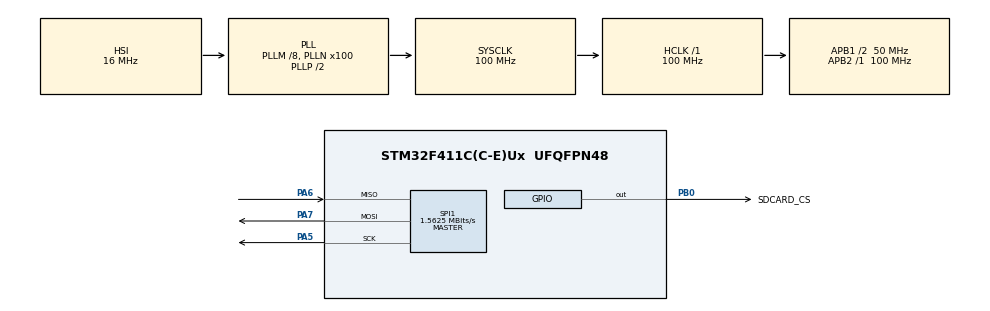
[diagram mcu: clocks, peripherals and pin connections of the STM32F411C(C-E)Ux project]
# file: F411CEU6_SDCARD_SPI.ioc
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FATFS._MAX_SS=4096
FATFS._USE_LFN=1
Mcu.Family=STM32F4
Mcu.Name=STM32F411C(C-E)Ux
Mcu.Package=UFQFPN48
NVIC.PriorityGroup=NVIC_PRIORITYGROUP_4
PA13.Mode=Serial_Wire
PA13.Signal=SYS_JTMS-SWDIO
PA14.Mode=Serial_Wire
PA14.Signal=SYS_JTCK-SWCLK
PA5.Mode=Full_Duplex_Master
PA5.Signal=SPI1_SCK
PA6.Mode=Full_Duplex_Master
PA6.Signal=SPI1_MISO
PA7.Mode=Full_Duplex_Master
PA7.Signal=SPI1_MOSI
PB0.GPIO_Label=SDCARD_CS
PB0.Signal=GPIO_Output
PH0\ -\ OSC_IN.Mode=HSE-External-Oscillator
PH0\ -\ OSC_IN.Signal=RCC_OSC_IN
PH1\ -\ OSC_OUT.Mode=HSE-External-Oscillator
PH1\ -\ OSC_OUT.Signal=RCC_OSC_OUT
ProjectManager.HeapSize=0x200
ProjectManager.StackSize=0x400
ProjectManager.TargetToolchain=STM32CubeIDE
RCC.48MHZClocksFreq_Value=50000000
RCC.AHBFreq_Value=100000000
RCC.APB1CLKDivider=RCC_HCLK_DIV2
RCC.APB1Freq_Value=50000000
RCC.APB1TimFreq_Value=100000000
RCC.APB2Freq_Value=100000000
RCC.APB2TimFreq_Value=100000000
RCC.CortexFreq_Value=100000000
RCC.HCLKFreq_Value=100000000
RCC.HSE_VALUE=25000000
RCC.HSI_VALUE=16000000
RCC.LSE_VALUE=32768
RCC.PLLM=8
RCC.PLLN=100
RCC.SYSCLKFreq_VALUE=100000000
RCC.SYSCLKSource=RCC_SYSCLKSOURCE_PLLCLK
RCC.VCOOutputFreq_Value=200000000
SPI1.BaudRatePrescaler=SPI_BAUDRATEPRESCALER_64
SPI1.CalculateBaudRate=1.5625 MBits/s
SPI1.Direction=SPI_DIRECTION_2LINES
SPI1.Mode=SPI_MODE_MASTER
SPI1.VirtualType=VM_MASTER
VP_FATFS_VS_Generic.Mode=User_defined
board=custom

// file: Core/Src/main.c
/* USER CODE BEGIN Header */
/**
  ******************************************************************************
  * @file           : main.c
  * @brief          : Main program body
  ******************************************************************************
  * @attention
  *
  * Copyright (c) 2024 STMicroelectronics.
  * All rights reserved.
  *
  * This software is licensed under terms that can be found in the LICENSE file
  * in the root directory of this software component.
  * If no LICENSE file comes with this software, it is provided AS-IS.
  *
  ******************************************************************************
  */
/* USER CODE END Header */
#include "main.h"
#include "fatfs.h"

SPI_HandleTypeDef hspi1;

/* USER CODE BEGIN PV */
FATFS       FatFs;                //Fatfs handle
FIL         fil;                  //File handle
FRESULT     fres;                 //Result after operations
char        buf[100];

FATFS *pfs;
DWORD fre_clust;
uint32_t totalSpace, freeSpace;
/* USER CODE END PV */

void SystemClock_Config(void);
static void MX_GPIO_Init(void);
static void MX_SPI1_Init(void);

/* USER CODE BEGIN 0 */
void process_SD_card( void )
{
  do
  {
    //Mount the SD Card
    fres = f_mount(&FatFs, "", 1);    //1=mount now
    if (fres != FR_OK)
    {
      break;
    }

    //Read the SD Card Total size and Free Size
    f_getfree("", &fre_clust, &pfs);
    totalSpace = (uint32_t)((pfs->n_fatent - 2) * pfs->csize * 0.5);
    freeSpace = (uint32_t)(fre_clust * pfs->csize * 0.5);

    //Open the file
    fres = f_open(&fil, "Hello.txt", FA_READ);
    if(fres != FR_OK)
    {
      break;
    }

    //read the data
    f_gets(buf, sizeof(buf), &fil);

    //close your file
    f_close(&fil);

  } while( 0 );

  //We're done, so de-mount the drive
  f_mount(NULL, "", 0);
}
/* USER CODE END 0 */

int main(void)
{

  /* MCU Configuration--------------------------------------------------------*/

  /* Reset of all peripherals, Initializes the Flash interface and the Systick. */
  HAL_Init();

  /* Configure the system clock */
  SystemClock_Config();

  /* Initialize all configured peripherals */
  MX_GPIO_Init();
  MX_SPI1_Init();
  MX_FATFS_Init();
  /* USER CODE BEGIN 2 */
  process_SD_card();
  /* USER CODE END 2 */

  /* Infinite loop */
  while (1)
  {

    /* USER CODE BEGIN 3 */
    HAL_Delay(1000);
  }
  /* USER CODE END 3 */
}

void SystemClock_Config(void)
{
  RCC_OscInitTypeDef RCC_OscInitStruct = {0};
  RCC_ClkInitTypeDef RCC_ClkInitStruct = {0};

  /** Configure the main internal regulator output voltage
  */
  __HAL_RCC_PWR_CLK_ENABLE();
  __HAL_PWR_VOLTAGESCALING_CONFIG(PWR_REGULATOR_VOLTAGE_SCALE1);

  /** Initializes the RCC Oscillators according to the specified parameters
  * in the RCC_OscInitTypeDef structure.
  */
  RCC_OscInitStruct.OscillatorType = RCC_OSCILLATORTYPE_HSI;
  RCC_OscInitStruct.HSIState = RCC_HSI_ON;
  RCC_OscInitStruct.HSICalibrationValue = RCC_HSICALIBRATION_DEFAULT;
  RCC_OscInitStruct.PLL.PLLState = RCC_PLL_ON;
  RCC_OscInitStruct.PLL.PLLSource = RCC_PLLSOURCE_HSI;
  RCC_OscInitStruct.PLL.PLLM = 8;
  RCC_OscInitStruct.PLL.PLLN = 100;
  RCC_OscInitStruct.PLL.PLLP = RCC_PLLP_DIV2;
  RCC_OscInitStruct.PLL.PLLQ = 4;
  if (HAL_RCC_OscConfig(&RCC_OscInitStruct) != HAL_OK)
  {
    Error_Handler();
  }

  /** Initializes the CPU, AHB and APB buses clocks
  */
  RCC_ClkInitStruct.ClockType = RCC_CLOCKTYPE_HCLK|RCC_CLOCKTYPE_SYSCLK
                              |RCC_CLOCKTYPE_PCLK1|RCC_CLOCKTYPE_PCLK2;
  RCC_ClkInitStruct.SYSCLKSource = RCC_SYSCLKSOURCE_PLLCLK;
  RCC_ClkInitStruct.AHBCLKDivider = RCC_SYSCLK_DIV1;
  RCC_ClkInitStruct.APB1CLKDivider = RCC_HCLK_DIV2;
  RCC_ClkInitStruct.APB2CLKDivider = RCC_HCLK_DIV1;

  if (HAL_RCC_ClockConfig(&RCC_ClkInitStruct, FLASH_LATENCY_3) != HAL_OK)
  {
    Error_Handler();
  }
}

static void MX_SPI1_Init(void)
{

  /* SPI1 parameter configuration*/
  hspi1.Instance = SPI1;
  hspi1.Init.Mode = SPI_MODE_MASTER;
  hspi1.Init.Direction = SPI_DIRECTION_2LINES;
  hspi1.Init.DataSize = SPI_DATASIZE_8BIT;
  hspi1.Init.CLKPolarity = SPI_POLARITY_LOW;
  hspi1.Init.CLKPhase = SPI_PHASE_1EDGE;
  hspi1.Init.NSS = SPI_NSS_SOFT;
  hspi1.Init.BaudRatePrescaler = SPI_BAUDRATEPRESCALER_64;
  hspi1.Init.FirstBit = SPI_FIRSTBIT_MSB;
  hspi1.Init.TIMode = SPI_TIMODE_DISABLE;
  hspi1.Init.CRCCalculation = SPI_CRCCALCULATION_DISABLE;
  hspi1.Init.CRCPolynomial = 10;
  if (HAL_SPI_Init(&hspi1) != HAL_OK)
  {
    Error_Handler();
  }

}

static void MX_GPIO_Init(void)
{
  GPIO_InitTypeDef GPIO_InitStruct = {0};

  /* GPIO Ports Clock Enable */
  __HAL_RCC_GPIOH_CLK_ENABLE();
  __HAL_RCC_GPIOA_CLK_ENABLE();
  __HAL_RCC_GPIOB_CLK_ENABLE();

  /*Configure GPIO pin Output Level */
  HAL_GPIO_WritePin(SDCARD_CS_GPIO_Port, SDCARD_CS_Pin, GPIO_PIN_RESET);

  /*Configure GPIO pin : SDCARD_CS_Pin */
  GPIO_InitStruct.Pin = SDCARD_CS_Pin;
  GPIO_InitStruct.Mode = GPIO_MODE_OUTPUT_PP;
  GPIO_InitStruct.Pull = GPIO_NOPULL;
  GPIO_InitStruct.Speed = GPIO_SPEED_FREQ_LOW;
  HAL_GPIO_Init(SDCARD_CS_GPIO_Port, &GPIO_InitStruct);

}

void Error_Handler(void)
{
  __disable_irq();
  while (1)
  {
  }
}
